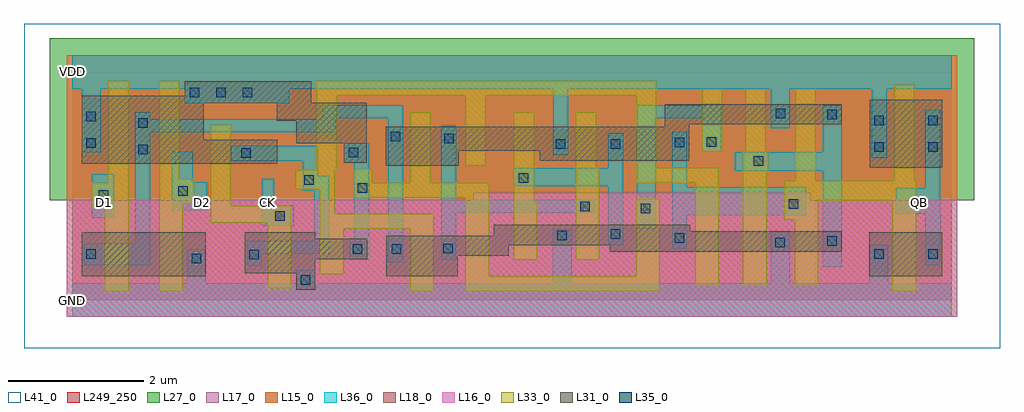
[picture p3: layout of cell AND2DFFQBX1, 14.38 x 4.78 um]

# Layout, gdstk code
import gdstk
lib = gdstk.Library(unit=1e-6, precision=1e-09)
def R(c, l, rs):  # rectangles x0, y0, x1, y1
    for r in rs: c.add(gdstk.rectangle(r[:2], r[2:], *l))
def A(c, l, x, y, w, h, nx, ny, dx, dy):  # array of equal rectangles
    R(c, l, [(x+i*dx, y+j*dy, x+i*dx+w, y+j*dy+h) for i in range(nx) for j in range(ny)])
def P(c, l, *ps):  # polygons
    for p in ps: c.add(gdstk.Polygon(p, *l))
L15_0 = (15, 0)
L16_0 = (16, 0)
L17_0 = (17, 0)
L18_0 = (18, 0)
L27_0 = (27, 0)
L31_0 = (31, 0)
L33_0 = (33, 0)
L35_0 = (35, 0)
L36_0 = (36, 0)
L41_0 = (41, 0)
L249_250 = (249, 250)

and2dffqbx1 = lib.new_cell('AND2DFFQBX1')
P(and2dffqbx1, L15_0, [(-0.08,1.47),(-0.08,3.61),(13.04,3.61),(13.04,1.47),(10.873,1.47),(10.873,1.58),(5.911,1.58),(5.911,1.47)])
P(and2dffqbx1, L16_0, [(-0.08,-0.25),(-0.08,1.47),(5.911,1.47),(5.911,1.58),(10.873,1.58),(10.873,1.47),(13.04,1.47),(13.04,-0.25)])
P(and2dffqbx1, L17_0, [(-0.08,1.47),(-0.08,3.61),(13.04,3.61),(13.04,1.47),(10.873,1.47),(10.873,1.58),(5.911,1.58),(5.911,1.47)])
P(and2dffqbx1, L18_0, [(-0.08,-0.25),(-0.08,1.47),(5.911,1.47),(5.911,1.58),(10.873,1.58),(10.873,1.47),(13.04,1.47),(13.04,-0.25)])
P(and2dffqbx1, L27_0, [(-0.33,1.47),(-0.33,3.86),(13.29,3.86),(13.29,1.47),(10.873,1.47),(10.873,1.58),(5.911,1.58),(5.911,1.47)])
R(and2dffqbx1, L31_0, [(0.14,0.35,1.97,1), (11.746,0.35,12.82,1), (11.75,1.95,12.82,2.95)])
P(and2dffqbx1, L31_0, [(1.66,2.009),(1.66,2.01),(0.14,2.01),(0.14,3.01),(1.662,3.01),(1.662,3.22),(3.519,3.22),(3.519,2.91),(4.343,2.91),(4.343,2.024),(3.999,2.024),(3.999,2.31),(3.299,2.31),(3.299,2.639),(3.017,2.639),(3.017,2.901),(1.939,2.901),(1.939,2.359),(3.019,2.359),(3.019,2.009)],
  [(4.623,1.98),(4.623,2.55),(8.733,2.55),(8.733,2.887),(11.335,2.887),(11.335,2.587),(9.088,2.587),(9.088,2.05),(6.888,2.05),(6.888,2.2),(5.692,2.2),(5.692,1.98)],
  [(4.624,0.35),(4.624,0.95),(6.214,0.95),(6.214,1.11),(9.109,1.11),(9.109,1.01),(11.335,1.01),(11.335,0.71),(7.918,0.71),(7.918,0.81),(6.434,0.81),(6.434,0.65),(5.683,0.65),(5.683,0.35)],
  [(3.3,0.148),(3.3,0.397),(2.54,0.397),(2.54,0.997),(3.58,0.997),(3.58,0.902),(4.344,0.902),(4.344,0.602),(3.58,0.602),(3.58,0.148)])
R(and2dffqbx1, L33_0, [(9.281,2.19,9.581,3.107)])
P(and2dffqbx1, L33_0, [(9.881,0.23),(9.881,2.188),(9.915,2.188),(9.915,3.107),(10.215,3.107),(10.215,2.188),(10.256,2.188),(10.256,1.908),(10.231,1.908),(10.231,0.23)],
  [(6.504,0.59),(6.504,1.743),(6.508,1.743),(6.508,2.77),(6.808,2.77),(6.808,1.441),(6.854,1.441),(6.854,0.59)],
  [(7.418,0.59),(7.418,2.77),(7.718,2.77),(7.718,1.95),(7.768,1.95),(7.768,0.59)],
  [(2.88,0.177),(2.88,1.138),(2.039,1.138),(2.039,2.579),(2.339,2.579),(2.339,1.388),(3.23,1.388),(3.23,0.177)],
  [(12.086,0.13),(12.086,1.46),(10.995,1.46),(10.995,0.23),(10.645,0.23),(10.645,1.182),(10.491,1.182),(10.491,1.755),(10.655,1.755),(10.655,3.107),(10.955,3.107),(10.955,1.755),(12.11,1.755),(12.11,3.17),(12.41,3.17),(12.41,1.755),(12.436,1.755),(12.436,0.13)],
  [(5.794,0.13),(5.794,1.51),(4.14,1.51),(4.14,1.924),(4.422,1.924),(4.422,1.73),(4.983,1.73),(4.983,2.77),(5.283,2.77),(5.283,1.73),(6.144,1.73),(6.144,0.35),(8.307,0.35),(8.307,1.49),(8.657,1.49),(8.657,0.13)],
  [(4.979,0.13),(4.979,1.05),(4,1.05),(4,0.382),(3.65,0.382),(3.65,1.629),(3.288,1.629),(3.288,1.909),(3.599,1.909),(3.599,3.23),(8.607,3.23),(8.607,1.95),(9.529,1.95),(9.529,0.23),(9.179,0.23),(9.179,1.73),(8.307,1.73),(8.307,3.01),(6.093,3.01),(6.093,1.98),(5.793,1.98),(5.793,3.01),(3.899,3.01),(3.899,1.909),(3.87,1.909),(3.87,1.27),(5.329,1.27),(5.329,0.13)],
  [(1.28,0.13),(1.28,3.23),(1.58,3.23),(1.58,1.781),(1.799,1.781),(1.799,1.419),(1.63,1.419),(1.63,0.13)],
  [(0.48,0.13),(0.48,1.364),(0.286,1.364),(0.286,1.726),(0.53,1.726),(0.53,3.23),(0.83,3.23),(0.83,0.13)])
A(and2dffqbx1, L35_0, 1.732, 2.99, 0.14, 0.14, 3, 1, 0.39, 0)
R(and2dffqbx1, L35_0, [(3.37,0.228,3.51,0.368), (1.76,0.54,1.9,0.68), (2.61,0.598,2.75,0.738), (0.21,0.605,0.35,0.745), (11.816,0.605,11.956,0.745), (12.61,0.605,12.75,0.745), (4.709,0.68,4.849,0.82), (4.13,0.682,4.27,0.822), (5.469,0.69,5.609,0.83), (10.361,0.78,10.501,0.92), (11.125,0.797,11.265,0.937), (8.878,0.845,9.018,0.985), (7.148,0.88,7.288,1.02), (7.938,0.9,8.078,1.04), (2.99,1.167,3.13,1.307), (8.377,1.28,8.517,1.42), (7.488,1.31,7.628,1.45), (10.561,1.342,10.701,1.482), (0.394,1.481,0.534,1.621), (1.561,1.536,1.701,1.676), (4.21,1.58,4.35,1.72), (3.422,1.699,3.562,1.839), (6.578,1.73,6.718,1.87), (10.039,1.978,10.179,2.118), (2.489,2.095,2.629,2.235), (4.078,2.1,4.218,2.24), (0.97,2.147,1.11,2.287), (11.82,2.185,11.96,2.325), (12.61,2.185,12.75,2.325), (7.126,2.23,7.266,2.37), (7.938,2.23,8.078,2.37), (0.21,2.245,0.35,2.385), (8.878,2.25,9.018,2.39), (9.351,2.26,9.491,2.4), (5.479,2.31,5.619,2.45), (4.693,2.34,4.833,2.48), (0.97,2.537,1.11,2.677), (11.82,2.575,11.96,2.715), (12.61,2.575,12.75,2.715), (0.21,2.635,0.35,2.775), (11.125,2.66,11.265,2.8), (10.365,2.677,10.505,2.817)])
R(and2dffqbx1, L36_0, [(0.285,1.212,0.617,1.851)])
P(and2dffqbx1, L36_0, [(5.439,0.59),(5.439,2.57),(5.659,2.57),(5.659,1.475),(7.698,1.475),(7.698,1.285),(5.659,1.285),(5.659,0.59)],
  [(4.09,0.592),(4.09,0.912),(4.157,0.912),(4.157,2.025),(4.004,2.025),(4.004,2.31),(4.377,2.31),(4.377,0.592)],
  [(8.838,0.755),(8.838,2.48),(9.058,2.48),(9.058,1.663),(10.815,1.663),(10.815,1.252),(9.058,1.252),(9.058,0.755)],
  [(7.898,0.81),(7.898,1.68),(6.508,1.68),(6.508,1.94),(7.898,1.94),(7.898,2.46),(8.118,2.46),(8.118,0.81)],
  [(8.318,1.047),(8.318,2.87),(9.561,2.87),(9.561,2.19),(9.281,2.19),(9.281,2.68),(8.598,2.68),(8.598,1.047)],
  [(2.79,1.097),(2.79,1.785),(2.98,1.785),(2.98,1.393),(3.264,1.393),(3.264,1.097)],
  [(1.471,1.321),(1.471,2.181),(1.775,2.181),(1.775,1.738),(1.993,1.738),(1.993,1.321)],
  [(11.78,2.095),(11.78,3.11),(10.575,3.11),(10.575,2.53),(10.295,2.53),(10.295,3.11),(7.306,3.11),(7.306,2.14),(7.086,2.14),(7.086,3.11),(3.201,3.11),(3.201,2.9),(1.662,2.9),(1.662,3.11),(0.42,3.11),(0.42,2.175),(0.14,2.175),(0.14,3.11),(0,3.11),(0,3.61),(12.96,3.61),(12.96,3.11),(12,3.11),(12,2.095)],
  [(12.57,0.515),(12.57,1.268),(12.132,1.268),(12.132,1.649),(12.57,1.649),(12.57,2.805),(12.79,2.805),(12.79,1.255),(12.794,1.255),(12.794,0.807),(12.79,0.807),(12.79,0.515)],
  [(0,-0.25),(0,0.25),(1.69,0.25),(1.69,0.75),(1.97,0.75),(1.97,0.25),(3.3,0.25),(3.3,0.443),(3.58,0.443),(3.58,0.25),(7.078,0.25),(7.078,1.045),(7.358,1.045),(7.358,0.25),(10.291,0.25),(10.291,1.012),(10.571,1.012),(10.571,0.25),(11.746,0.25),(11.746,0.815),(12.026,0.815),(12.026,0.25),(12.96,0.25),(12.96,-0.25)],
  [(11.055,0.49),(11.055,1.903),(9.761,1.903),(9.761,2.178),(11.055,2.178),(11.055,2.87),(11.335,2.87),(11.335,0.49)],
  [(2.57,0.508),(2.57,0.873),(3.57,0.873),(3.57,1.61),(3.396,1.61),(3.396,1.83),(3.397,1.83),(3.397,2.05),(2.343,2.05),(2.343,2.27),(3.617,2.27),(3.617,1.83),(3.79,1.83),(3.79,0.683),(2.79,0.683),(2.79,0.508)],
  [(0.17,0.515),(0.17,0.835),(0.93,0.835),(0.93,2.767),(1.15,2.767),(1.15,2.66),(3.688,2.66),(3.688,2.87),(4.875,2.87),(4.875,0.56),(4.655,0.56),(4.655,0.59),(4.651,0.59),(4.651,0.91),(4.655,0.91),(4.655,2.68),(3.878,2.68),(3.878,2.47),(1.15,2.47),(1.15,0.515)])
R(and2dffqbx1, L41_0, [(-0.71,-0.708,13.67,4.068)])
R(and2dffqbx1, L249_250, [(0,0,12.96,3.36)])
and2dffqbx1.add(gdstk.Label('QB', (12.48,1.44), layer=211, texttype=0))
and2dffqbx1.add(gdstk.Label('GND', (0,0), layer=211, texttype=0))
and2dffqbx1.add(gdstk.Label('VDD', (0,3.36), layer=211, texttype=0))
and2dffqbx1.add(gdstk.Label('CK', (2.88,1.44), layer=211, texttype=0))
and2dffqbx1.add(gdstk.Label('D2', (1.92,1.44), layer=211, texttype=0))
and2dffqbx1.add(gdstk.Label('D1', (0.48,1.44), layer=211, texttype=0))

lib.write_gds('AND2DFFQBX1.gds')
